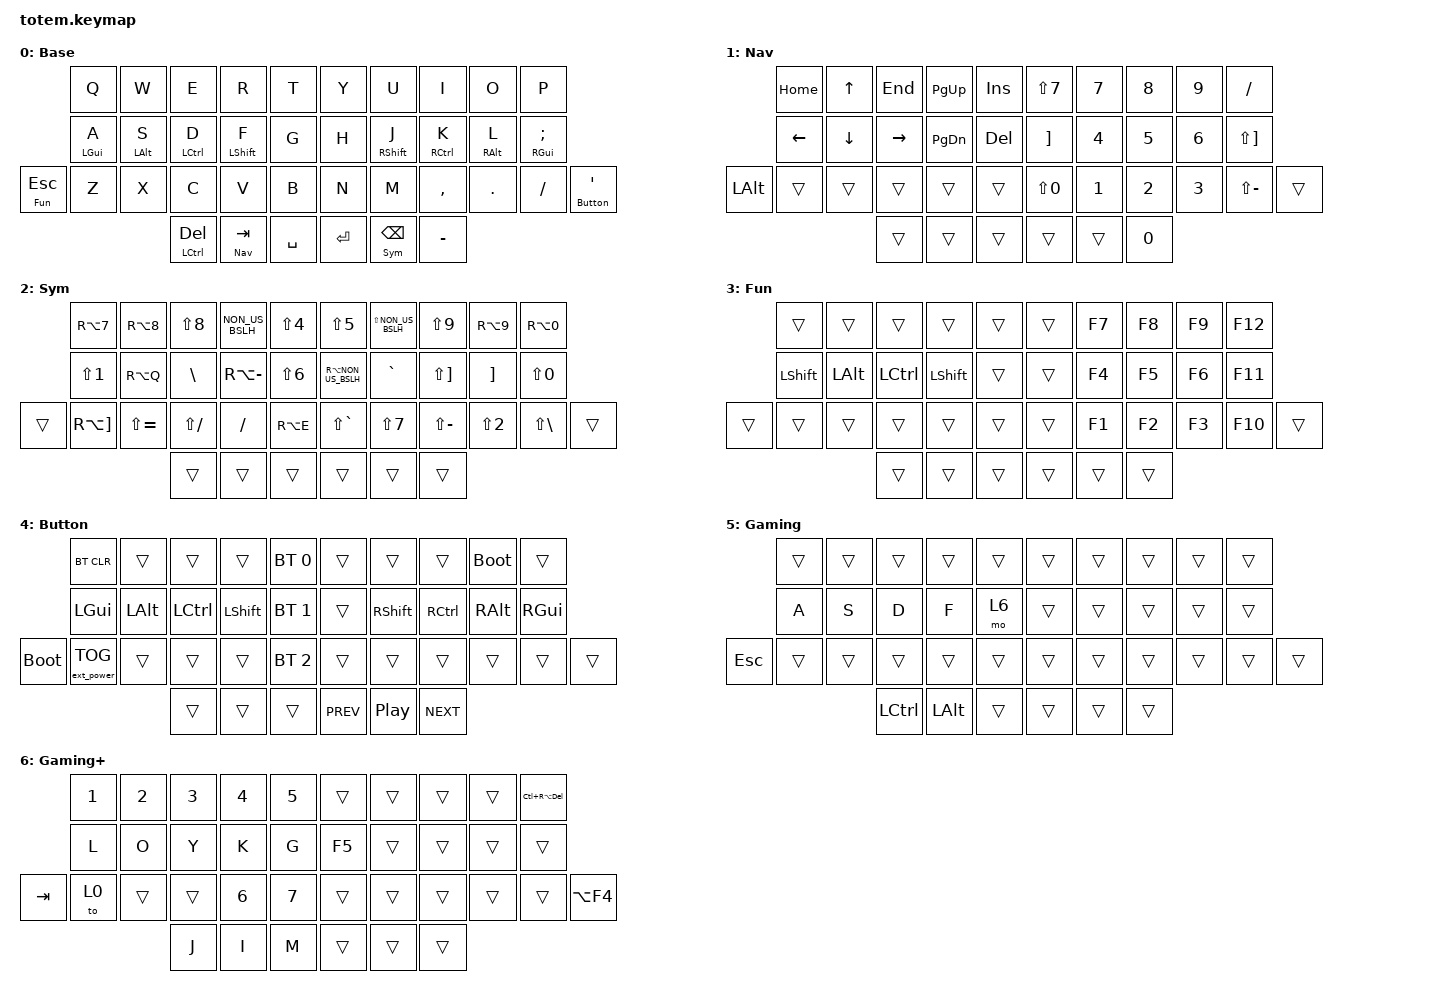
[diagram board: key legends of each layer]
//
//                                                        ▀▀▀▀▀     ▀▀▀▀▀          ▀▀█▀▀
//                                                        ▄▀▀▀▄  ▄  ▄▀▀▀▄  ▄  ▄▀▀▀▄  █  ▄▀▀▀▄
//                                                        █   █  █  █   █  █  █   █  █  █   █
//                                                         ▀▀▀   █   ▀▀▀   █   ▀▀▀   ▀   ▀▀▀
//                                                               █      ▄▄▄█▄▄▄    █   █  
//                                                               ▀      █  █  █     █▄█
//                                                             ▀▀▀▀▀    █  █  █      ▀
//                                                                      ▀  ▀  ▀
//
// ▄▄▄▄▄▄▄▄▄▄▄▄▄▄▄▄▄▄▄▄▄▄▄▄▄▄▄▄▄▄▄▄▄▄▄▄▄▄▄▄▄▄▄▄▄▄▄▄▄▄▄▄▄▄▄▄▄▄▄▄▄▄▄▄▄▄▄▄▄▄▄▄▄▄▄▄▄▄▄▄▄▄▄▄▄▄▄▄▄▄▄▄▄▄▄▄▄▄▄▄▄▄▄▄▄▄▄▄▄▄▄▄▄▄▄▄▄▄▄▄▄▄▄▄▄▄▄▄▄▄▄▄▄▄▄▄▄▄▄▄▄▄▄▄▄▄▄▄▄

#include <behaviors.dtsi>
#include <dt-bindings/zmk/bt.h>
#include <dt-bindings/zmk/ext_power.h>
#include <dt-bindings/zmk/keys.h>

#define Base        0
#define Nav         1
#define Sym         2
#define Fun         3
#define Button      4
#define Game        5
#define Gameplus    6

/* German keys mapping for ZMK on German OS */
#define DE_A_UML &kp SQT       // ä
#define DE_O_UML &kp SEMI      // ö
#define DE_U_UML &kp LBKT      // ü
#define DE_SZ    &kp MINUS     // ß
#define DE_EXCL  &kp LS(N1)    // !
#define DE_DQUO  &kp LS(N2)    // "
#define DE_SECT  &kp LS(N3)    // §
#define DE_DLR   &kp LS(N4)    // $
#define DE_PERC  &kp LS(N5)    // %
#define DE_AMPS  &kp LS(N6)    // &
#define DE_SLSH  &kp LS(N7)    // /
#define DE_LPAR  &kp LS(N8)    // (
#define DE_RPAR  &kp LS(N9)    // )
#define DE_EQL   &kp LS(N0)    // =
#define DE_QMRK  &kp LS(MINUS) // ?
#define DE_DEG   &kp LS(GRAVE) // °
#define DE_PIPE  &kp RA(NON_US_BSLH) // |
#define DE_BSLH  &kp RA(MINUS) // backslash
#define DE_LBRC  &kp RA(N7)    // {
#define DE_RBRC  &kp RA(N0)    // }
#define DE_LBKT  &kp RA(N8)    // [
#define DE_RBKT  &kp RA(N9)    // ]
#define DE_AT    &kp RA(Q)     // @
#define DE_EURO  &kp RA(E)     // €
#define DE_TILD  &kp RA(RBKT)  // ~
#define DE_LT    &kp NON_US_BSLH // <
#define DE_GT    &kp LS(NON_US_BSLH) // >
#define DE_PLUS  &kp RBKT      // +
#define DE_ASTR  &kp LS(RBKT)  // *
#define DE_HASH  &kp BSLH      // #
#define DE_QUOT  &kp LS(BSLH)  // '
#define DE_MINS  &kp SLASH     // -
#define DE_UNDS  &kp LS(SLASH) // _
#define DE_DOT   &kp DOT       // .
#define DE_COMM  &kp COMMA     // ,
#define DE_COLN  &kp LS(DOT)   // :
#define DE_SCLN  &kp LS(COMMA) // ;
#define DE_CIRC  &kp GRAVE     // ^
#define DE_ACUT  &kp EQUAL     // ´
#define DE_GRAV  &kp LS(EQUAL) // `

&mt {
    quick-tap-ms = <100>;
    global-quick-tap;
    flavor = "tap-preferred";
    tapping-term-ms = <170>;
};

&lt {
    tapping-term-ms = <240>;
    flavor = "balanced";
    quick-tap-ms = <150>;
};

/ {
    behaviors {
        hm: homerow_mods {
            compatible = "zmk,behavior-hold-tap";
            label = "HOMEROW_MODS";
            #binding-cells = <2>;
            flavor = "tap-preferred";
            tapping-term-ms = <200>;
            quick-tap-ms = <125>;
            global-quick-tap;
            bindings =
                <&kp>,
                <&kp>;
        };
    };

    combos {
        compatible = "zmk,combos";
        
        combo_ae {
            timeout-ms = <50>;
            key-positions = <10 11>; // A + S
            bindings = <DE_A_UML>;
        };
        
        combo_oe {
            timeout-ms = <50>;
            key-positions = <8 9>; // O + P
            bindings = <DE_O_UML>;
        };
        
        combo_ue {
            timeout-ms = <50>;
            key-positions = <6 7>; // U + I
            bindings = <DE_U_UML>;
        };
        
        combo_sz {
            timeout-ms = <50>;
            key-positions = <11 12>; // S + D
            bindings = <DE_SZ>;
        };
    };

    keymap {
        compatible = "zmk,keymap";

        Base_layer {
            label = "Base";
            bindings = <
                   &kp Q       &kp W          &kp E         &kp R      &kp T    &kp Y        &kp U        &kp I       &kp O               &kp P
              &hm LGUI A  &hm LALT S    &hm LCTRL D  &hm LSHIFT F      &kp G    &kp H  &hm RSHFT J  &hm RCTRL K  &hm RALT L  &hm RGUI SEMICOLON
&lt Fun ESCAPE     &kp Z       &kp X          &kp C         &kp V      &kp B    &kp N        &kp M    &kp COMMA     &kp DOT           &kp SLASH  &lt Button APOSTROPHE
                                      &mt LCTRL DEL     &lt Nav TAB  &kp SPACE  &kp RET   &lt Sym BSPC    &kp MINUS
            >;
        };

        Nav_layer {
            label = "Nav";
            bindings = <
                      &kp HOME    &kp UP      &kp END     &kp PG_UP  &kp INS     DE_SLSH      &kp N7      &kp N8      &kp N9       DE_MINS
              &kp LEFT    &kp DOWN    &kp RIGHT   &kp PG_DN   &kp DEL     DE_PLUS      &kp N4      &kp N5      &kp N6       DE_ASTR
&kp LALT              &trans      &trans      &trans      &trans     &trans      DE_EQL       &kp N1      &kp N2      &kp N3       DE_QMRK  &trans
                                              &trans      &trans     &trans     &trans        &trans      &kp N0
            >;
        };

        Sym_layer {
            label = "Sym";
            bindings = <
                       DE_LBRC     DE_LBKT     DE_LPAR     DE_LT       DE_DLR     DE_PERC      DE_GT       DE_RPAR     DE_RBKT     DE_RBRC
               DE_EXCL     DE_AT       DE_HASH     DE_BSLH     DE_AMPS    DE_PIPE    DE_CIRC      DE_ASTR     DE_PLUS     DE_EQL
&trans                 DE_TILD     DE_GRAV     DE_UNDS     DE_MINS     DE_EURO    DE_DEG       DE_SLSH     DE_QMRK     DE_DQUO     DE_QUOT  &trans
                                              &trans      &trans      &trans     &trans       &trans      &trans
            >;
        };

        Fun_layer {
            label = "Fun";
            bindings = <
                      &trans      &trans      &trans      &trans     &trans     &trans       &kp F7      &kp F8      &kp F9      &kp F12
              &kp LSHFT   &kp LALT    &kp LCTRL   &kp LSHFT   &trans     &trans     &kp F4      &kp F5      &kp F6      &kp F11
&trans                &trans      &trans      &trans      &trans     &trans     &trans       &kp F1      &kp F2      &kp F3      &kp F10   &trans
                                              &trans      &trans     &trans     &trans       &trans      &trans
            >;
        };


        Button {
            label = "Button";
            bindings = <
                    &bt BT_CLR    &trans     &trans      &trans  &bt BT_SEL 0      &trans            &trans      &trans  &bootloader    &trans
                      &kp LGUI  &kp LALT  &kp LCTRL  &kp LSHIFT  &bt BT_SEL 1      &trans        &kp RSHIFT   &kp RCTRL     &kp RALT  &kp RGUI
&bootloader  &ext_power EP_TOG    &trans     &trans      &trans  &bt BT_SEL 2      &trans            &trans      &trans       &trans    &trans  &trans
                                             &trans      &trans        &trans  &kp C_PREV  &kp C_PLAY_PAUSE  &kp C_NEXT
            >;
        };

        Gaming {
            bindings = <
            &trans  &trans     &trans        &trans  &trans  &trans  &trans  &trans  &trans  &trans
             &kp A   &kp S      &kp D         &kp F   &mo 6  &trans  &trans  &trans  &trans  &trans
&kp ESCAPE  &trans  &trans     &trans        &trans  &trans  &trans  &trans  &trans  &trans  &trans  &trans
                            &kp LCTRL  &kp LEFT_ALT  &trans  &trans  &trans  &trans
            >;

            label = "Gaming";
        };

        Gaming+ {
            bindings = <
         &kp NUMBER_1  &kp NUMBER_2  &kp NUMBER_3  &kp NUMBER_4  &kp NUMBER_5  &trans  &trans  &trans  &trans  &kp LC(RA(DEL))
                &kp L         &kp O         &kp Y         &kp K         &kp G  &kp F5  &trans  &trans  &trans           &trans
&kp TAB         &to 0        &trans        &trans  &kp NUMBER_6  &kp NUMBER_7  &trans  &trans  &trans  &trans           &trans  &kp LA(F4)
                                            &kp J         &kp I         &kp M  &trans  &trans  &trans
            >;

            label = "Gaming+";
        };
    };
};
